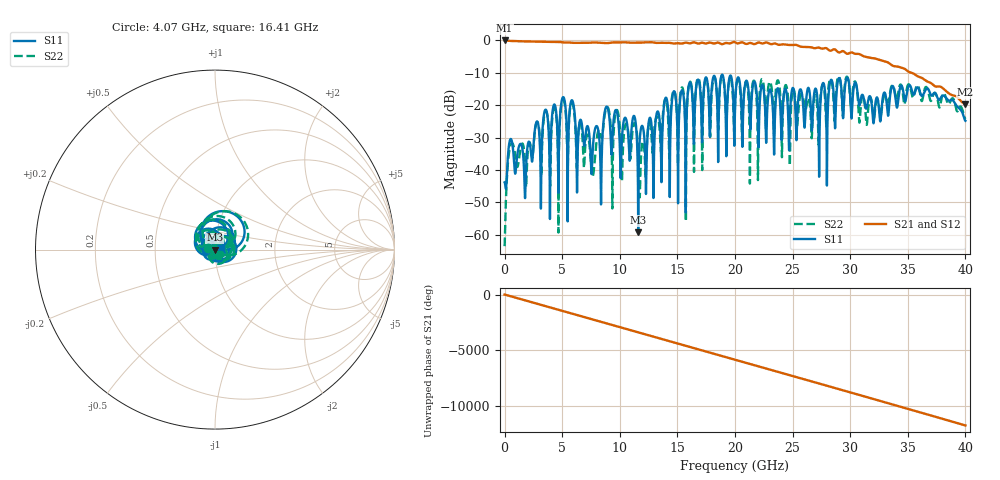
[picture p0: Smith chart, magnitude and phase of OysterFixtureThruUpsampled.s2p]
# MHz MA S R 50.0
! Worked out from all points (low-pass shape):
!   8000 points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, 5 MHz to 40 GHz, reference 50 ohm
!   highest |S21| = -0.03 dB at 5 MHz (marker M1); lowest = -19.8 dB at 40 GHz (marker M2)
!   |S21| within 3 dB of the highest: start of sweep to 28.16 GHz; 28.43 GHz to 28.77 GHz (338.2 MHz wide, 1.18 % of centre)
!   lowest |S11| = -59.3 dB at 11.6 GHz (marker M3), VSWR 1.00, Z = 49.9 - j0.00358 ohm
!   |S11| at or under -10 dB: start of sweep to end of sweep
!   |S22| runs from -63.6 to -10.9 dB; largest |S21 - S12| = 0.02
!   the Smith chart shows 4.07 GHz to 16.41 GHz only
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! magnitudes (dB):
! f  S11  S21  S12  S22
! 5 MHz  -43.8  0.0  0.0  -63.6
! 595 MHz  -30.7  -0.2  -0.2  -31.8
! 1.78 GHz  -48.7  -0.3  -0.3  -38.2
! 3.54 GHz  -21.4  -0.5  -0.5  -22.0
! 4.69 GHz  -40.3  -0.5  -0.5  -42.8
! 5.08 GHz  -17.5  -0.6  -0.6  -18.3
! 6.675 GHz  -25.2  -0.8  -0.8  -26.8
! 7.675 GHz  -32.7  -0.7  -0.7  -41.8
! 8.385 GHz  -48.1  -0.8  -0.8  -29.9
! 8.92 GHz  -20.6  -0.9  -0.8  -20.6
! 9.345 GHz  -31.7  -0.7  -0.7  -46.3
! 9.73 GHz  -21.8  -0.6  -0.6  -21.5
! 10.21 GHz  -29.6  -0.6  -0.6  -42.3
! 11.25 GHz  -23.4  -0.7  -0.7  -25.6
! 11.6 GHz  -59.3  -0.7  -0.8  -33.4
! 13.34 GHz  -22.1  -0.8  -0.8  -24.2
! 16.8 GHz  -12.1  -1.0  -1.0  -11.6
! 20 GHz  -21.0  -0.6  -0.6  -19.7
! 26.67 GHz  -27.7  -2.2  -2.2  -30.0
! 29 GHz  -11.7  -3.7  -3.8  -11.1
! 33.34 GHz  -22.4  -6.9  -7.0  -18.6
! 40 GHz  -24.9  -19.8  -19.6  -24.3
